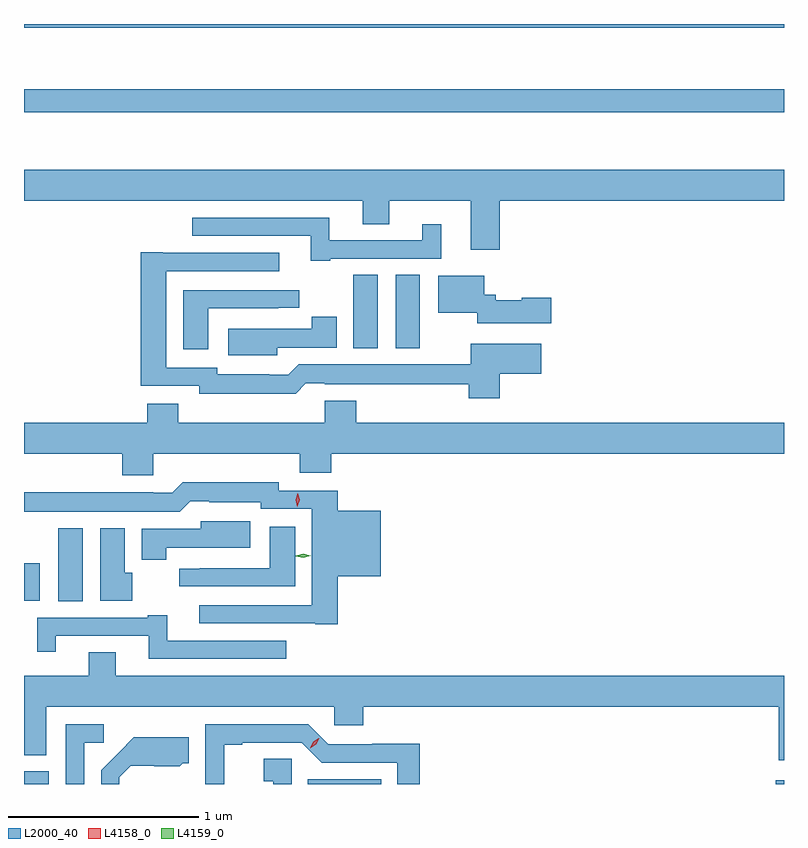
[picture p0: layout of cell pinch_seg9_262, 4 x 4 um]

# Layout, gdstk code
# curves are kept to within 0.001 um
import gdstk
lib = gdstk.Library(unit=1e-6, precision=1e-09)
def R(c, l, rs):  # rectangles x0, y0, x1, y1
    for r in rs: c.add(gdstk.rectangle(r[:2], r[2:], *l))
def P(c, l, *ps):  # polygons
    for p in ps: c.add(gdstk.Polygon(p, *l))
L2000_40 = (2000, 40)
L4158_0 = (4158, 0)
L4159_0 = (4159, 0)

pinch_seg9_262 = lib.new_cell('pinch_seg9_262')
R(pinch_seg9_262, L2000_40, [(503.285,1229.314,503.416,1229.38), (504.778,1229.314,505.165,1229.338), (507.242,1229.314,507.285,1229.335), (503.465,1230.276,503.593,1230.661), (503.285,1230.278,503.368,1230.475), (505.241,1231.607,505.369,1231.993), (505.019,1231.608,505.147,1231.994), (503.285,1232.85,507.285,1232.971), (503.285,1233.294,507.285,1233.314)])
P(pinch_seg9_262, L2000_40, [(505.79,1232.384),(507.285,1232.384),(507.285,1232.548),(503.285,1232.548),(503.285,1232.384),(505.067,1232.384),(505.067,1232.26),(505.207,1232.26),(505.207,1232.384),(505.637,1232.384),(505.637,1232.127),(505.79,1232.127)],
  [(504.898,1232.079),(505.48,1232.079),(505.48,1232.26),(505.382,1232.26),(505.382,1232.175),(504.892,1232.175),(504.892,1232.295),(504.171,1232.295),(504.171,1232.199),(504.794,1232.199),(504.794,1232.067),(504.898,1232.067)],
  [(505.79,1231.472),(506.008,1231.472),(506.008,1231.63),(505.637,1231.63),(505.637,1231.522),(504.73,1231.522),(504.675,1231.467),(504.575,1231.467),(504.575,1231.471),(504.303,1231.471),(504.303,1231.506),(504.034,1231.506),(504.034,1232.013),(504.628,1232.013),(504.628,1232.109),(504.016,1232.109),(504.016,1232.114),(503.9,1232.114),(503.9,1231.41),(504.207,1231.41),(504.207,1231.367),(504.714,1231.367),(504.769,1231.422),(504.868,1231.422),(504.868,1231.418),(505.625,1231.418),(505.625,1231.344),(505.79,1231.344)],
  [(506.059,1231.874),(505.905,1231.874),(505.905,1231.861),(505.768,1231.861),(505.768,1231.89),(505.708,1231.89),(505.708,1231.99),(505.466,1231.99),(505.466,1231.793),(505.67,1231.793),(505.67,1231.739),(506.059,1231.739)],
  [(504.256,1231.818),(504.623,1231.818),(504.623,1231.82),(504.733,1231.82),(504.733,1231.914),(504.122,1231.914),(504.122,1231.602),(504.256,1231.602)],
  [(504.618,1231.61),(504.931,1231.61),(504.931,1231.774),(504.8,1231.774),(504.8,1231.711),(504.36,1231.711),(504.36,1231.571),(504.618,1231.571)],
  [(503.966,1231.052),(504.737,1231.052),(504.737,1230.953),(504.902,1230.953),(504.902,1231.052),(507.285,1231.052),(507.285,1231.216),(505.034,1231.216),(505.034,1231.33),(504.869,1231.33),(504.869,1231.216),(504.098,1231.216),(504.098,1231.315),(503.933,1231.315),(503.933,1231.216),(503.285,1231.216),(503.285,1231.052),(503.801,1231.052),(503.801,1230.938),(503.966,1230.938)],
  [(504.935,1230.407),(505.162,1230.407),(505.162,1230.751),(504.935,1230.751),(504.935,1230.858),(504.627,1230.858),(504.627,1230.901),(504.12,1230.901),(504.065,1230.846),(503.966,1230.846),(503.966,1230.85),(503.285,1230.85),(503.285,1230.746),(504.104,1230.746),(504.159,1230.801),(504.259,1230.801),(504.259,1230.797),(504.531,1230.797),(504.531,1230.762),(504.8,1230.762),(504.8,1230.255),(504.207,1230.255),(504.207,1230.159),(504.818,1230.159),(504.818,1230.154),(504.935,1230.154)],
  [(504.034,1230.557),(504.475,1230.557),(504.475,1230.697),(504.216,1230.697),(504.216,1230.658),(503.904,1230.658),(503.904,1230.494),(504.034,1230.494)],
  [(504.712,1230.667),(504.578,1230.667),(504.578,1230.45),(504.211,1230.45),(504.211,1230.448),(504.101,1230.448),(504.101,1230.354),(504.712,1230.354)],
  [(503.854,1230.426),(503.815,1230.426),(503.815,1230.661),(503.687,1230.661),(503.687,1230.278),(503.854,1230.278)],
  [(504.664,1230.069),(504.04,1230.069),(504.04,1230.202),(503.936,1230.202),(503.936,1230.189),(503.354,1230.189),(503.354,1230.009),(503.452,1230.009),(503.452,1230.093),(503.942,1230.093),(503.942,1229.973),(504.664,1229.973)],
  [(507.285,1229.884),(503.767,1229.884),(503.767,1230.008),(503.627,1230.008),(503.627,1229.884),(503.285,1229.884),(503.285,1229.465),(503.401,1229.465),(503.401,1229.72),(504.918,1229.72),(504.918,1229.622),(505.07,1229.622),(505.07,1229.72),(507.258,1229.72),(507.258,1229.439),(507.285,1229.439)],
  [(504.339,1229.52),(504.433,1229.52),(504.433,1229.532),(504.748,1229.532),(504.853,1229.427),(505.25,1229.427),(505.25,1229.314),(505.369,1229.314),(505.369,1229.525),(505.118,1229.525),(505.118,1229.523),(504.885,1229.523),(504.78,1229.628),(504.24,1229.628),(504.24,1229.314),(504.339,1229.314)],
  [(503.601,1229.532),(503.704,1229.532),(503.704,1229.628),(503.505,1229.628),(503.505,1229.314),(503.601,1229.314)],
  [(503.787,1229.349),(503.847,1229.409),(504.104,1229.408),(504.12,1229.424),(504.151,1229.424),(504.151,1229.56),(503.863,1229.56),(503.691,1229.386),(503.691,1229.314),(503.787,1229.314)],
  [(504.693,1229.447),(504.546,1229.447),(504.546,1229.329),(504.597,1229.329),(504.597,1229.314),(504.693,1229.314)])
P(pinch_seg9_262, L4158_0, [(504.792,1229.503),(504.792,1229.504),(504.807,1229.536),(504.837,1229.556),(504.838,1229.556),(504.838,1229.555),(504.822,1229.523),(504.792,1229.503)],
  [(504.723,1230.773),(504.723,1230.773),(504.715,1230.809),(504.726,1230.845),(504.726,1230.845),(504.726,1230.845),(504.735,1230.809),(504.724,1230.773)])
P(pinch_seg9_262, L4159_0, [(504.754,1230.505),(504.715,1230.514),(504.715,1230.515),(504.715,1230.515),(504.754,1230.525),(504.793,1230.516),(504.793,1230.516),(504.793,1230.515)])

lib.write_gds('pinch_seg9_262.gds')
